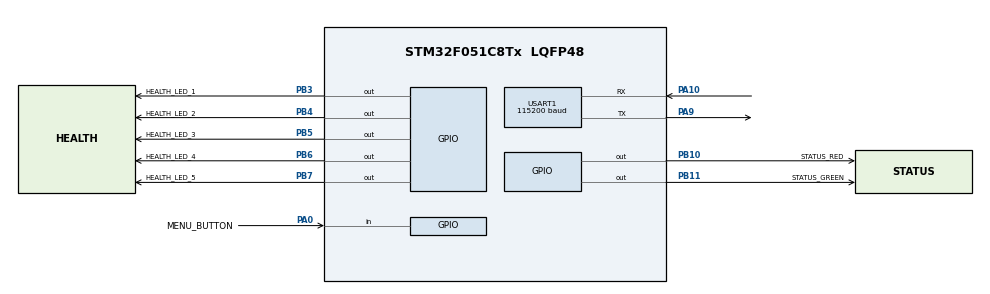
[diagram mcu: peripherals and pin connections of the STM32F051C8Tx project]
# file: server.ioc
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Mcu.Family=STM32F0
Mcu.Name=STM32F051C8Tx
Mcu.Package=LQFP48
NVIC.USART1_IRQn=true\:0\:0\:false\:false\:true\:true\:true\:true
PA0.GPIO_Label=MENU_BUTTON
PA0.GPIO_PuPd=GPIO_PULLUP
PA0.Signal=GPIO_Input
PA10.Mode=Asynchronous
PA10.Signal=USART1_RX
PA9.Mode=Asynchronous
PA9.Signal=USART1_TX
PB10.GPIO_Label=STATUS_RED
PB10.Signal=GPIO_Output
PB11.GPIO_Label=STATUS_GREEN
PB11.Signal=GPIO_Output
PB3.GPIO_Label=HEALTH_LED_1
PB3.Signal=GPIO_Output
PB4.GPIO_Label=HEALTH_LED_2
PB4.Signal=GPIO_Output
PB5.GPIO_Label=HEALTH_LED_3
PB5.Signal=GPIO_Output
PB6.GPIO_Label=HEALTH_LED_4
PB6.Signal=GPIO_Output
PB7.GPIO_Label=HEALTH_LED_5
PB7.Signal=GPIO_Output
ProjectManager.HeapSize=0x200
ProjectManager.StackSize=0x400
ProjectManager.TargetToolchain=Makefile
USART1.BaudRate=115200
USART1.VirtualMode-Asynchronous=VM_ASYNC
board=custom

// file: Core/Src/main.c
/* USER CODE BEGIN Header */
/**
  ******************************************************************************
  * @file           : main.c
  * @brief          : Main program body
  ******************************************************************************
  */
/* USER CODE END Header */
#include "main.h"

/* USER CODE BEGIN Includes */
#include "protocol.h"
#include "battleship.h"
#include "hardware.h"
/* USER CODE END Includes */

UART_HandleTypeDef huart1;

void SystemClock_Config(void);
static void MX_GPIO_Init(void);
static void MX_USART1_UART_Init(void);

/* USER CODE BEGIN 0 */
uint8_t rx_byte;  // Single byte for incoming UART data

/* USER CODE END 0 */

int main(void)
{

  /* MCU Configuration--------------------------------------------------------*/

  /* Reset of all peripherals, Initializes the Flash interface and the Systick. */
  HAL_Init();

  /* Configure the system clock */
  SystemClock_Config();

  /* Initialize all configured peripherals */
  MX_GPIO_Init();
  MX_USART1_UART_Init();
  /* USER CODE BEGIN 2 */
  Hardware_Init();
  Proto_Init(&huart1);
  HAL_UART_Receive_IT(&huart1, &rx_byte, 1);
  /* USER CODE END 2 */

  /* Infinite loop */
  /* USER CODE BEGIN WHILE */
  uint32_t last_rx_time = HAL_GetTick();
  uint32_t now;

  while (1) {
    /* USER CODE END WHILE */

    /* USER CODE BEGIN 3 */
    now = HAL_GetTick();
    Hardware_UpdateState(now);
    if (frame_ready) {
      CommandStruct cmd;

      if (Proto_ParseFrame(rx_buffer, &cmd)) {
        Game_ProcessCommand(&cmd);
      } else {
        Proto_SendResponse("NACK: BADCMD");
      }

      frame_ready = 0;
      last_rx_time = now;
    }

    if (rx_index == 0) {
      last_rx_time = now;
    }
    else if (now - last_rx_time > FRAME_TIMEOUT) {
      rx_index = 0;
      last_rx_time = now; // Reset timer after clearing
    }
  }
  /* USER CODE END 3 */
}

void SystemClock_Config(void)
{
  RCC_OscInitTypeDef RCC_OscInitStruct = {0};
  RCC_ClkInitTypeDef RCC_ClkInitStruct = {0};
  RCC_PeriphCLKInitTypeDef PeriphClkInit = {0};

  /** Initializes the RCC Oscillators according to the specified parameters
  * in the RCC_OscInitTypeDef structure.
  */
  RCC_OscInitStruct.OscillatorType = RCC_OSCILLATORTYPE_HSI;
  RCC_OscInitStruct.HSIState = RCC_HSI_ON;
  RCC_OscInitStruct.HSICalibrationValue = RCC_HSICALIBRATION_DEFAULT;
  RCC_OscInitStruct.PLL.PLLState = RCC_PLL_NONE;
  if (HAL_RCC_OscConfig(&RCC_OscInitStruct) != HAL_OK)
  {
    Error_Handler();
  }

  /** Initializes the CPU, AHB and APB buses clocks
  */
  RCC_ClkInitStruct.ClockType = RCC_CLOCKTYPE_HCLK|RCC_CLOCKTYPE_SYSCLK
                              |RCC_CLOCKTYPE_PCLK1;
  RCC_ClkInitStruct.SYSCLKSource = RCC_SYSCLKSOURCE_HSI;
  RCC_ClkInitStruct.AHBCLKDivider = RCC_SYSCLK_DIV1;
  RCC_ClkInitStruct.APB1CLKDivider = RCC_HCLK_DIV1;

  if (HAL_RCC_ClockConfig(&RCC_ClkInitStruct, FLASH_LATENCY_0) != HAL_OK)
  {
    Error_Handler();
  }
  PeriphClkInit.PeriphClockSelection = RCC_PERIPHCLK_USART1;
  PeriphClkInit.Usart1ClockSelection = RCC_USART1CLKSOURCE_PCLK1;
  if (HAL_RCCEx_PeriphCLKConfig(&PeriphClkInit) != HAL_OK)
  {
    Error_Handler();
  }
}

static void MX_USART1_UART_Init(void)
{

  huart1.Instance = USART1;
  huart1.Init.BaudRate = 115200;
  huart1.Init.WordLength = UART_WORDLENGTH_8B;
  huart1.Init.StopBits = UART_STOPBITS_1;
  huart1.Init.Parity = UART_PARITY_NONE;
  huart1.Init.Mode = UART_MODE_TX_RX;
  huart1.Init.HwFlowCtl = UART_HWCONTROL_NONE;
  huart1.Init.OverSampling = UART_OVERSAMPLING_16;
  huart1.Init.OneBitSampling = UART_ONE_BIT_SAMPLE_DISABLE;
  huart1.AdvancedInit.AdvFeatureInit = UART_ADVFEATURE_NO_INIT;
  if (HAL_UART_Init(&huart1) != HAL_OK)
  {
    Error_Handler();
  }

}

static void MX_GPIO_Init(void)
{
  GPIO_InitTypeDef GPIO_InitStruct = {0};

  /* GPIO Ports Clock Enable */
  __HAL_RCC_GPIOA_CLK_ENABLE();
  __HAL_RCC_GPIOB_CLK_ENABLE();

  /*Configure GPIO pin Output Level */
  HAL_GPIO_WritePin(GPIOB, STATUS_RED_Pin|STATUS_GREEN_Pin|HEALTH_LED_1_Pin|HEALTH_LED_2_Pin
                          |HEALTH_LED_3_Pin|HEALTH_LED_4_Pin|HEALTH_LED_5_Pin, GPIO_PIN_RESET);

  /*Configure GPIO pin : MENU_BUTTON_Pin */
  GPIO_InitStruct.Pin = MENU_BUTTON_Pin;
  GPIO_InitStruct.Mode = GPIO_MODE_INPUT;
  GPIO_InitStruct.Pull = GPIO_PULLUP;
  HAL_GPIO_Init(MENU_BUTTON_GPIO_Port, &GPIO_InitStruct);

  /*Configure GPIO pins : STATUS_RED_Pin STATUS_GREEN_Pin HEALTH_LED_1_Pin HEALTH_LED_2_Pin
                           HEALTH_LED_3_Pin HEALTH_LED_4_Pin HEALTH_LED_5_Pin */
  GPIO_InitStruct.Pin = STATUS_RED_Pin|STATUS_GREEN_Pin|HEALTH_LED_1_Pin|HEALTH_LED_2_Pin
                          |HEALTH_LED_3_Pin|HEALTH_LED_4_Pin|HEALTH_LED_5_Pin;
  GPIO_InitStruct.Mode = GPIO_MODE_OUTPUT_PP;
  GPIO_InitStruct.Pull = GPIO_NOPULL;
  GPIO_InitStruct.Speed = GPIO_SPEED_FREQ_LOW;
  HAL_GPIO_Init(GPIOB, &GPIO_InitStruct);

}

/* USER CODE BEGIN 4 */
void HAL_UART_RxCpltCallback(UART_HandleTypeDef *huart) {
    if (huart->Instance == USART1) {
        // Pass the received byte to your protocol buffer
        Proto_ProcessByte(rx_byte);

        // Re-arm the UART interrupt for the next byte
        HAL_UART_Receive_IT(&huart1, &rx_byte, 1);
    }
}
/* USER CODE END 4 */

void Error_Handler(void)
{
  __disable_irq();
  while (1)
  {
  }
}
